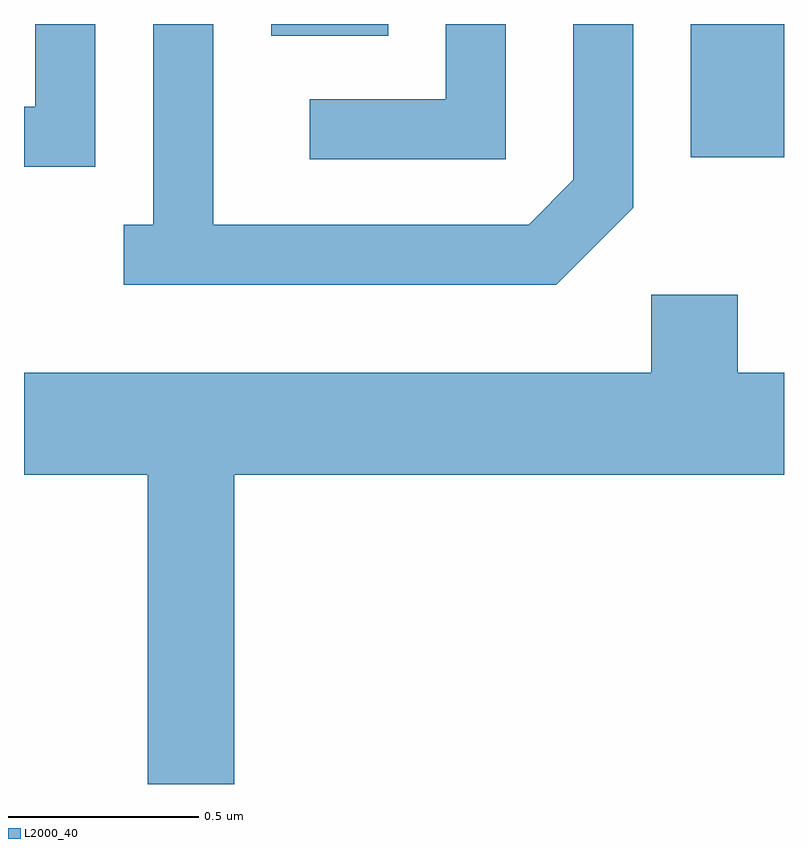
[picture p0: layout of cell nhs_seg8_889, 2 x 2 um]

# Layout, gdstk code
import gdstk
lib = gdstk.Library(unit=1e-6, precision=1e-09)
def R(c, l, rs):  # rectangles x0, y0, x1, y1
    for r in rs: c.add(gdstk.rectangle(r[:2], r[2:], *l))
def P(c, l, *ps):  # polygons
    for p in ps: c.add(gdstk.Polygon(p, *l))
L2000_40 = (2000, 40)

nhs_seg8_889 = lib.new_cell('nhs_seg8_889')
R(nhs_seg8_889, L2000_40, [(193.366,1874.991,193.611,1875.342), (192.261,1875.311,192.569,1875.342)])
P(nhs_seg8_889, L2000_40, [(191.799,1875.342),(191.641,1875.342),(191.641,1875.124),(191.611,1875.124),(191.611,1874.966),(191.799,1874.966)],
  [(192.879,1875.342),(192.721,1875.342),(192.721,1875.144),(192.363,1875.144),(192.363,1874.986),(192.879,1874.986)],
  [(193.214,1874.859),(193.214,1875.342),(193.056,1875.342),(193.056,1874.932),(192.939,1874.814),(192.109,1874.814),(192.109,1875.342),(191.951,1875.342),(191.951,1874.814),(191.873,1874.814),(191.873,1874.656),(193.012,1874.656)],
  [(192.164,1874.156),(193.611,1874.156),(193.611,1874.424),(193.489,1874.424),(193.489,1874.629),(193.261,1874.629),(193.261,1874.424),(191.611,1874.424),(191.611,1874.156),(191.936,1874.156),(191.936,1873.342),(192.164,1873.342)])

lib.write_gds('nhs_seg8_889.gds')
